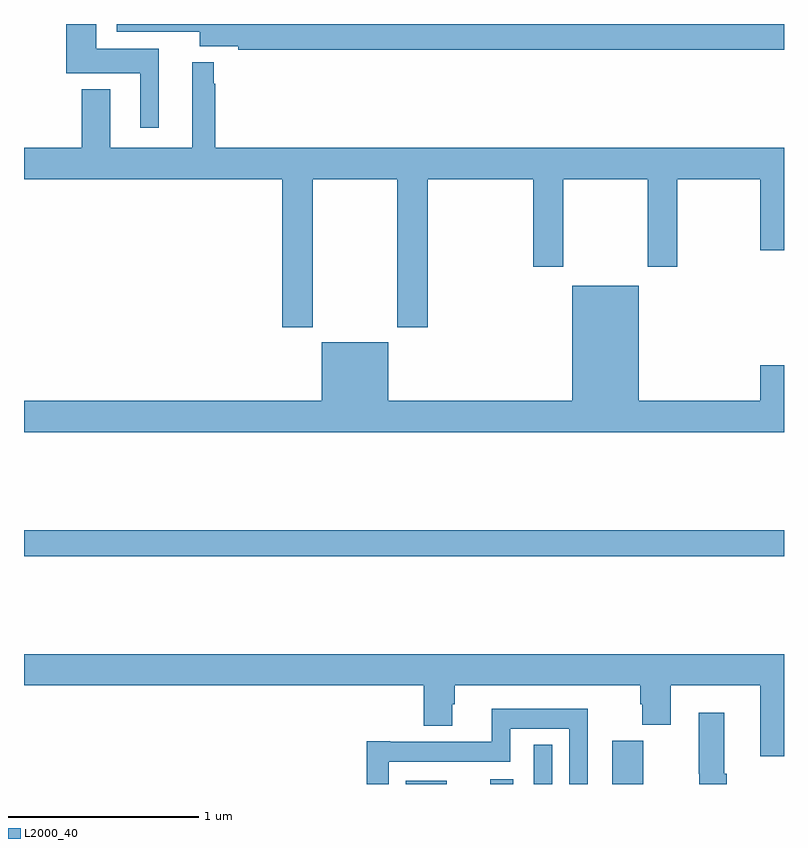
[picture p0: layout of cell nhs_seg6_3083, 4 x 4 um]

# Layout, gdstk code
import gdstk
lib = gdstk.Library(unit=1e-6, precision=1e-09)
def R(c, l, rs):  # rectangles x0, y0, x1, y1
    for r in rs: c.add(gdstk.rectangle(r[:2], r[2:], *l))
def P(c, l, *ps):  # polygons
    for p in ps: c.add(gdstk.Polygon(p, *l))
L2000_40 = (2000, 40)

nhs_seg6_3083 = lib.new_cell('nhs_seg6_3083')
R(nhs_seg6_3083, L2000_40, [(295.01,929.5,295.225,929.518), (295.454,929.5,295.576,929.524), (295.683,929.5,295.779,929.707), (296.096,929.5,296.26,929.727), (293,930.7,297,930.836)])
P(nhs_seg6_3083, L2000_40, [(297,933.5),(293.487,933.5),(293.487,933.459),(293.925,933.459),(293.925,933.384),(294.128,933.384),(294.128,933.364),(297,933.364)],
  [(293.71,933.37),(293.38,933.37),(293.38,933.5),(293.222,933.5),(293.222,933.242),(293.612,933.242),(293.612,932.955),(293.71,932.955)],
  [(294.519,932.684),(294.964,932.684),(294.964,931.905),(295.124,931.905),(295.124,932.684),(295.679,932.684),(295.679,932.223),(295.839,932.223),(295.839,932.684),(296.284,932.684),(296.284,932.223),(296.439,932.223),(296.439,932.684),(296.876,932.684),(296.876,932.31),(297,932.31),(297,932.848),(294.007,932.848),(294.007,933.185),(293.998,933.185),(293.998,933.298),(293.885,933.298),(293.885,932.848),(293.455,932.848),(293.455,933.157),(293.303,933.157),(293.303,932.848),(293,932.848),(293,932.684),(294.359,932.684),(294.359,931.905),(294.519,931.905)],
  [(297,931.705),(296.876,931.705),(296.876,931.516),(296.236,931.516),(296.236,932.122),(295.886,932.122),(295.886,931.516),(294.916,931.516),(294.916,931.825),(294.566,931.825),(294.566,931.516),(293,931.516),(293,931.352),(297,931.352)],
  [(293,930.02),(295.103,930.02),(295.103,929.807),(295.255,929.807),(295.255,929.919),(295.268,929.919),(295.268,930.02),(296.243,930.02),(296.243,929.921),(296.255,929.921),(296.255,929.812),(296.403,929.812),(296.403,930.02),(296.876,930.02),(296.876,929.646),(297,929.646),(297,930.184),(293,930.184)],
  [(294.921,929.618),(295.56,929.618),(295.56,929.792),(295.869,929.792),(295.869,929.5),(295.966,929.5),(295.966,929.896),(295.463,929.896),(295.463,929.722),(294.928,929.722),(294.928,929.725),(294.805,929.725),(294.805,929.5),(294.921,929.5)],
  [(296.699,929.554),(296.686,929.554),(296.686,929.875),(296.552,929.875),(296.552,929.554),(296.553,929.554),(296.553,929.5),(296.699,929.5)])

lib.write_gds('nhs_seg6_3083.gds')
